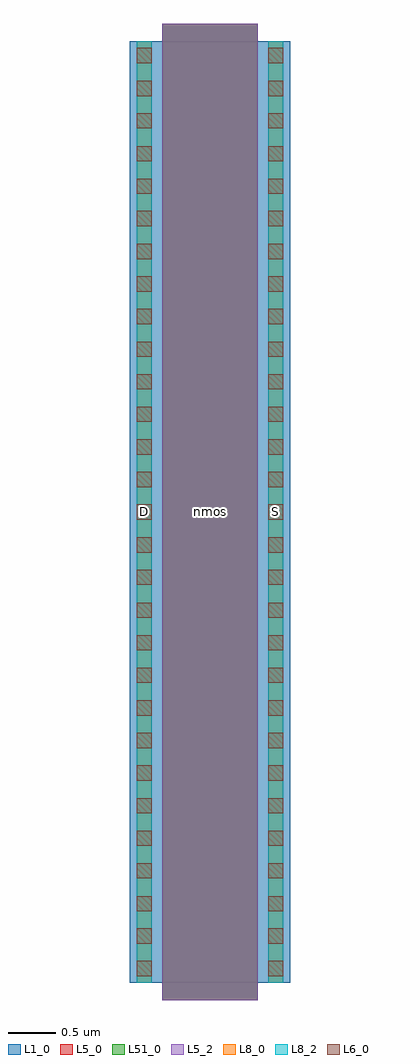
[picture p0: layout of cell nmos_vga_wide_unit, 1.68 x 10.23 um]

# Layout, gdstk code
import gdstk
lib = gdstk.Library(unit=1e-6, precision=1e-09)
def R(c, l, rs):  # rectangles x0, y0, x1, y1
    for r in rs: c.add(gdstk.rectangle(r[:2], r[2:], *l))
def A(c, l, x, y, w, h, nx, ny, dx, dy):  # array of equal rectangles
    R(c, l, [(x+i*dx, y+j*dy, x+i*dx+w, y+j*dy+h) for i in range(nx) for j in range(ny)])
L1_0 = (1, 0)
L5_0 = (5, 0)
L5_2 = (5, 2)
L6_0 = (6, 0)
L8_0 = (8, 0)
L8_2 = (8, 2)
L51_0 = (51, 0)

nmos_vga_wide_unit = lib.new_cell('nmos_vga_wide_unit')
R(nmos_vga_wide_unit, L1_0, [(0,0,0.3,0.3), (0,0,1.68,9.87), (1.38,0,1.68,0.3)])
R(nmos_vga_wide_unit, L5_0, [(0.34,-0.18,1.34,10.05)])
R(nmos_vga_wide_unit, L5_2, [(0.34,-0.18,1.34,10.05)])
A(nmos_vga_wide_unit, L6_0, 0.07, 0.07, 0.16, 0.16, 1, 3, 0, 0.34)
A(nmos_vga_wide_unit, L6_0, 1.45, 0.07, 0.16, 0.16, 1, 3, 0, 0.34)
A(nmos_vga_wide_unit, L6_0, 0.07, 1.095, 0.16, 0.16, 1, 3, 0, 0.34)
A(nmos_vga_wide_unit, L6_0, 1.45, 1.095, 0.16, 0.16, 1, 3, 0, 0.34)
A(nmos_vga_wide_unit, L6_0, 0.07, 2.12, 0.16, 0.16, 1, 3, 0, 0.34)
A(nmos_vga_wide_unit, L6_0, 1.45, 2.12, 0.16, 0.16, 1, 3, 0, 0.34)
A(nmos_vga_wide_unit, L6_0, 0.07, 3.145, 0.16, 0.16, 1, 3, 0, 0.34)
A(nmos_vga_wide_unit, L6_0, 1.45, 3.145, 0.16, 0.16, 1, 3, 0, 0.34)
A(nmos_vga_wide_unit, L6_0, 0.07, 4.855, 0.16, 0.16, 1, 3, 0, 0.34)
A(nmos_vga_wide_unit, L6_0, 1.45, 4.855, 0.16, 0.16, 1, 3, 0, 0.34)
A(nmos_vga_wide_unit, L6_0, 0.07, 5.88, 0.16, 0.16, 1, 3, 0, 0.34)
A(nmos_vga_wide_unit, L6_0, 1.45, 5.88, 0.16, 0.16, 1, 3, 0, 0.34)
A(nmos_vga_wide_unit, L6_0, 0.07, 6.905, 0.16, 0.16, 1, 3, 0, 0.34)
A(nmos_vga_wide_unit, L6_0, 1.45, 6.905, 0.16, 0.16, 1, 3, 0, 0.34)
A(nmos_vga_wide_unit, L6_0, 0.07, 7.93, 0.16, 0.16, 1, 3, 0, 0.34)
A(nmos_vga_wide_unit, L6_0, 1.45, 7.93, 0.16, 0.16, 1, 3, 0, 0.34)
R(nmos_vga_wide_unit, L6_0, [(0.07,4.17,0.23,4.33), (1.45,4.17,1.61,4.33), (0.07,4.51,0.23,4.67), (1.45,4.51,1.61,4.67), (0.07,8.955,0.23,9.115), (1.45,8.955,1.61,9.115), (0.07,9.295,0.23,9.455), (1.45,9.295,1.61,9.455), (0.07,9.64,0.23,9.8), (1.45,9.64,1.61,9.8)])
R(nmos_vga_wide_unit, L8_0, [(0.07,0,0.23,9.87), (1.45,0,1.61,9.87)])
R(nmos_vga_wide_unit, L8_2, [(0.07,0,0.23,9.87), (1.45,0,1.61,9.87)])
R(nmos_vga_wide_unit, L51_0, [(0.34,-0.18,1.34,10.05)])
nmos_vga_wide_unit.add(gdstk.Label('nmos', (0.84,4.935), layer=63, texttype=0))
nmos_vga_wide_unit.add(gdstk.Label('nmos', (0.84,4.935), layer=51, texttype=0))
nmos_vga_wide_unit.add(gdstk.Label('D', (0.15,4.935), layer=8, texttype=25))
nmos_vga_wide_unit.add(gdstk.Label('S', (1.53,4.935), layer=8, texttype=25))

lib.write_gds('nmos_vga_wide_unit.gds')
